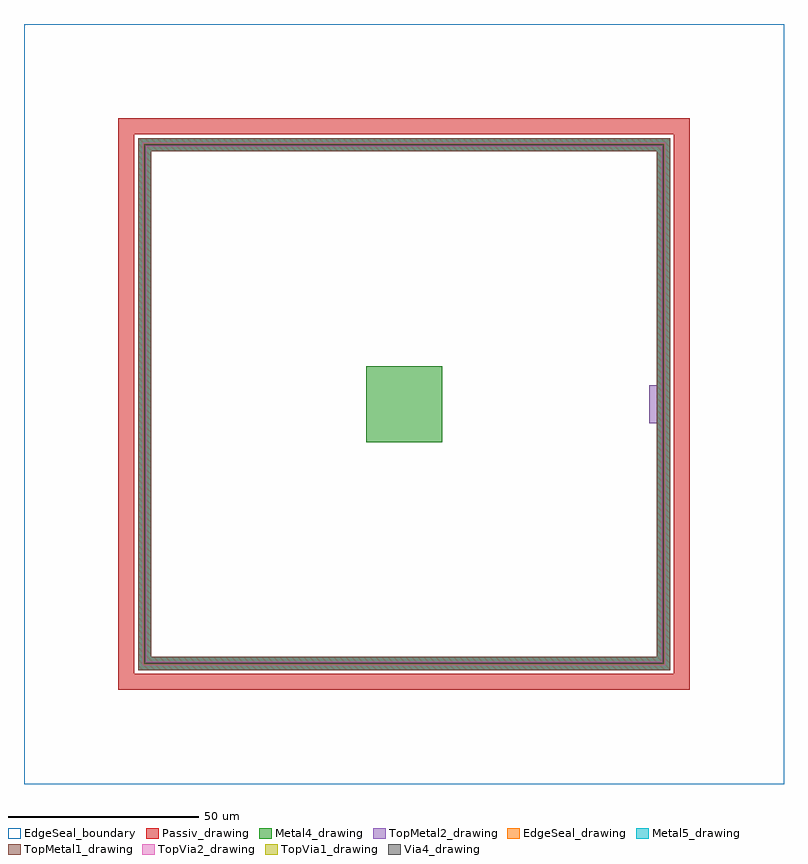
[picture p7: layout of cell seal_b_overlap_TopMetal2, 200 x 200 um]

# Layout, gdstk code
import gdstk
lib = gdstk.Library(unit=1e-6, precision=1e-09)
def R(c, l, rs):  # rectangles x0, y0, x1, y1
    for r in rs: c.add(gdstk.rectangle(r[:2], r[2:], *l))
def P(c, l, *ps):  # polygons
    for p in ps: c.add(gdstk.Polygon(p, *l))
Passiv_drawing = (9, 0)
EdgeSeal_drawing = (39, 0)
EdgeSeal_boundary = (39, 4)
Metal4_drawing = (50, 0)
Via4_drawing = (66, 0)
Metal5_drawing = (67, 0)
TopVia1_drawing = (125, 0)
TopMetal1_drawing = (126, 0)
TopVia2_drawing = (133, 0)
TopMetal2_drawing = (134, 0)

seal_b_overlap_topmetal2 = lib.new_cell('seal_b_overlap_TopMetal2')
P(seal_b_overlap_topmetal2, Passiv_drawing, [(24.8,24.8),(24.8,171),(29,171),(29,29),(171,29),(171,171),(24.8,171),(24.8,175.2),(175.2,175.2),(175.2,24.8)])
P(seal_b_overlap_topmetal2, EdgeSeal_drawing, [(30,30),(30,166.5),(33.5,166.5),(33.5,33.5),(166.5,33.5),(166.5,166.5),(30,166.5),(30,170),(170,170),(170,30)])
R(seal_b_overlap_topmetal2, EdgeSeal_boundary, [(0,0,200,200)])
R(seal_b_overlap_topmetal2, Metal4_drawing, [(90,90,110,110)])
P(seal_b_overlap_topmetal2, Metal4_drawing, [(30,30),(30,166.5),(33.5,166.5),(33.5,33.5),(166.5,33.5),(166.5,166.5),(30,166.5),(30,170),(170,170),(170,30)])
P(seal_b_overlap_topmetal2, Via4_drawing, [(31.655,31.655),(31.655,168.155),(31.845,168.155),(31.845,31.845),(168.155,31.845),(168.155,168.155),(31.655,168.155),(31.655,168.345),(168.345,168.345),(168.345,31.655)])
P(seal_b_overlap_topmetal2, Metal5_drawing, [(30,30),(30,166.5),(33.5,166.5),(33.5,33.5),(166.5,33.5),(166.5,166.5),(30,166.5),(30,170),(170,170),(170,30)])
P(seal_b_overlap_topmetal2, TopVia1_drawing, [(31.54,31.54),(31.54,168.04),(31.96,168.04),(31.96,31.96),(168.04,31.96),(168.04,168.04),(31.54,168.04),(31.54,168.46),(168.46,168.46),(168.46,31.54)])
P(seal_b_overlap_topmetal2, TopMetal1_drawing, [(30,30),(30,166.5),(33.5,166.5),(33.5,33.5),(166.5,33.5),(166.5,166.5),(30,166.5),(30,170),(170,170),(170,30)])
P(seal_b_overlap_topmetal2, TopVia2_drawing, [(31.3,31.3),(31.3,167.8),(32.2,167.8),(32.2,32.2),(167.8,32.2),(167.8,167.8),(31.3,167.8),(31.3,168.7),(168.7,168.7),(168.7,31.3)])
R(seal_b_overlap_topmetal2, TopMetal2_drawing, [(164.5,95,167.5,105)])
P(seal_b_overlap_topmetal2, TopMetal2_drawing, [(30,30),(30,166.5),(33.5,166.5),(33.5,33.5),(166.5,33.5),(166.5,166.5),(30,166.5),(30,170),(170,170),(170,30)])

lib.write_gds('seal_b_overlap_TopMetal2.gds')
